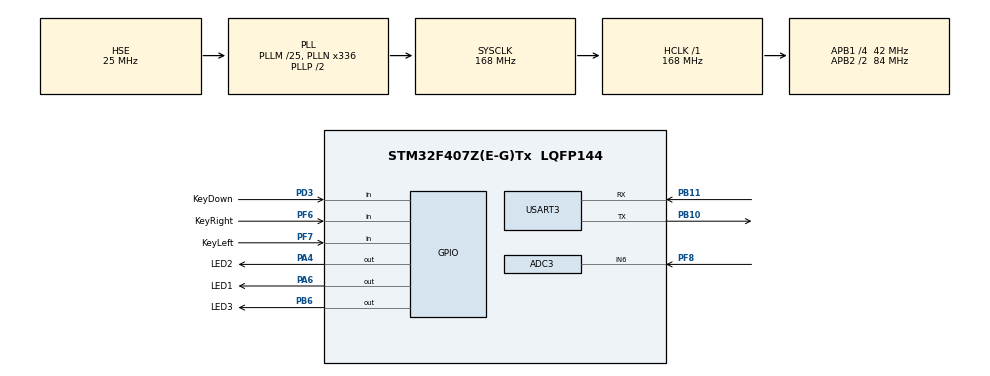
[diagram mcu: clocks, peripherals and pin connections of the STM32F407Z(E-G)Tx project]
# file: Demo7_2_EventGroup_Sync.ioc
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ADC3.Channel-0\#ChannelRegularConversion=ADC_CHANNEL_6
ADC3.NbrOfConversionFlag=1
ADC3.Rank-0\#ChannelRegularConversion=1
ADC3.SamplingTime-0\#ChannelRegularConversion=ADC_SAMPLETIME_15CYCLES
FREERTOS.Events01=eventGroup,Dynamic,NULL
FREERTOS.Tasks01=Task_LED1,24,128,AppTask_LED1,Default,NULL,Dynamic,NULL,NULL;Task_LED2,24,128,AppTask_LED2,Default,NULL,Dynamic,NULL,NULL;Task_LED3_ADC,24,256,AppTask_LED3_ADC,Default,NULL,Dynamic,NULL,NULL
FREERTOS.configUSE_NEWLIB_REENTRANT=1
Mcu.Family=STM32F4
Mcu.Name=STM32F407Z(E-G)Tx
Mcu.Package=LQFP144
NVIC.PriorityGroup=NVIC_PRIORITYGROUP_4
NVIC.TIM6_DAC_IRQn=true\:0\:0\:true\:false\:true\:false\:false\:true\:true
NVIC.TimeBase=TIM6_DAC_IRQn
NVIC.TimeBaseIP=TIM6
PA13.Mode=Serial_Wire
PA13.Signal=SYS_JTMS-SWDIO
PA14.Mode=Serial_Wire
PA14.Signal=SYS_JTCK-SWCLK
PA4.GPIO_Label=LED2
PA4.GPIO_Speed=GPIO_SPEED_FREQ_HIGH
PA4.PinState=GPIO_PIN_SET
PA4.Signal=GPIO_Output
PA6.GPIO_Label=LED1
PA6.GPIO_Speed=GPIO_SPEED_FREQ_HIGH
PA6.PinState=GPIO_PIN_SET
PA6.Signal=GPIO_Output
PB10.Mode=Asynchronous
PB10.Signal=USART3_TX
PB11.Mode=Asynchronous
PB11.Signal=USART3_RX
PB6.GPIO_Label=LED3
PB6.GPIO_Speed=GPIO_SPEED_FREQ_HIGH
PB6.PinState=GPIO_PIN_SET
PB6.Signal=GPIO_Output
PD3.GPIO_Label=KeyDown
PD3.GPIO_PuPd=GPIO_PULLUP
PD3.Signal=GPIO_Input
PF6.GPIO_Label=KeyRight
PF6.GPIO_PuPd=GPIO_PULLUP
PF6.Signal=GPIO_Input
PF7.GPIO_Label=KeyLeft
PF7.GPIO_PuPd=GPIO_PULLUP
PF7.Signal=GPIO_Input
PF8.Mode=IN6
PF8.Signal=ADC3_IN6
PH0-OSC_IN.Mode=HSE-External-Oscillator
PH0-OSC_IN.Signal=RCC_OSC_IN
PH1-OSC_OUT.Mode=HSE-External-Oscillator
PH1-OSC_OUT.Signal=RCC_OSC_OUT
ProjectManager.HeapSize=0x200
ProjectManager.StackSize=0x400
ProjectManager.TargetToolchain=STM32CubeIDE
RCC.48MHZClocksFreq_Value=84000000
RCC.AHBFreq_Value=168000000
RCC.APB1CLKDivider=RCC_HCLK_DIV4
RCC.APB1Freq_Value=42000000
RCC.APB1TimFreq_Value=84000000
RCC.APB2CLKDivider=RCC_HCLK_DIV2
RCC.APB2Freq_Value=84000000
RCC.APB2TimFreq_Value=168000000
RCC.CortexFreq_Value=168000000
RCC.HCLKFreq_Value=168000000
RCC.HSE_VALUE=25000000
RCC.HSI_VALUE=16000000
RCC.LSE_VALUE=32768
RCC.PLLM=25
RCC.PLLN=336
RCC.PLLSourceVirtual=RCC_PLLSOURCE_HSE
RCC.SYSCLKFreq_VALUE=168000000
RCC.SYSCLKSource=RCC_SYSCLKSOURCE_PLLCLK
RCC.VCOOutputFreq_Value=336000000
USART3.VirtualMode=VM_ASYNC
VP_FREERTOS_VS_CMSIS_V2.Mode=CMSIS_V2
VP_SYS_VS_tim6.Mode=TIM6
board=custom

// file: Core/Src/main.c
/* USER CODE BEGIN Header */
/**
  ******************************************************************************
  * @file           : main.c
  * @brief          : Main program body
  ******************************************************************************
  * @attention
  *
  * Copyright (c) 2025 STMicroelectronics.
  * All rights reserved.
  *
  * This software is licensed under terms that can be found in the LICENSE file
  * in the root directory of this software component.
  * If no LICENSE file comes with this software, it is provided AS-IS.
  *
  ******************************************************************************
  */
/* USER CODE END Header */
#include "main.h"
#include "cmsis_os.h"
#include "adc.h"
#include "usart.h"
#include "gpio.h"

void SystemClock_Config(void);
void MX_FREERTOS_Init(void);

int main(void)
{

  /* MCU Configuration--------------------------------------------------------*/

  /* Reset of all peripherals, Initializes the Flash interface and the Systick. */
  HAL_Init();

  /* Configure the system clock */
  SystemClock_Config();

  /* Initialize all configured peripherals */
  MX_GPIO_Init();
  MX_ADC3_Init();
  MX_USART3_UART_Init();
  /* USER CODE BEGIN 2 */
  // Start Menu
  uint8_t startstr[] = "Demo7_2: Events Synchronization.\r\n";
  HAL_UART_Transmit(&huart3,startstr,sizeof(startstr),0xFFFF);

  uint8_t startstr1[] = "1. Press KeyLeft(S4) ,KeyRight(S5) , KeyDown(S3) to start test.\r\n";
  HAL_UART_Transmit(&huart3,startstr1,sizeof(startstr1),0xFFFF);

  uint8_t startstr2[] = "2. Press Reset(S6) to restart.\r\n\r\n";
  HAL_UART_Transmit(&huart3,startstr2,sizeof(startstr2),0xFFFF);

  /* USER CODE END 2 */

  /* Init scheduler */
  osKernelInitialize();  /* Call init function for freertos objects (in cmsis_os2.c) */
  MX_FREERTOS_Init();

  /* Start scheduler */
  osKernelStart();

  /* We should never get here as control is now taken by the scheduler */

  /* Infinite loop */
  while (1)
  {

  }
}

void SystemClock_Config(void)
{
  RCC_OscInitTypeDef RCC_OscInitStruct = {0};
  RCC_ClkInitTypeDef RCC_ClkInitStruct = {0};

  /** Configure the main internal regulator output voltage
  */
  __HAL_RCC_PWR_CLK_ENABLE();
  __HAL_PWR_VOLTAGESCALING_CONFIG(PWR_REGULATOR_VOLTAGE_SCALE1);

  /** Initializes the RCC Oscillators according to the specified parameters
  * in the RCC_OscInitTypeDef structure.
  */
  RCC_OscInitStruct.OscillatorType = RCC_OSCILLATORTYPE_HSE;
  RCC_OscInitStruct.HSEState = RCC_HSE_ON;
  RCC_OscInitStruct.PLL.PLLState = RCC_PLL_ON;
  RCC_OscInitStruct.PLL.PLLSource = RCC_PLLSOURCE_HSE;
  RCC_OscInitStruct.PLL.PLLM = 25;
  RCC_OscInitStruct.PLL.PLLN = 336;
  RCC_OscInitStruct.PLL.PLLP = RCC_PLLP_DIV2;
  RCC_OscInitStruct.PLL.PLLQ = 4;
  if (HAL_RCC_OscConfig(&RCC_OscInitStruct) != HAL_OK)
  {
    Error_Handler();
  }

  /** Initializes the CPU, AHB and APB buses clocks
  */
  RCC_ClkInitStruct.ClockType = RCC_CLOCKTYPE_HCLK|RCC_CLOCKTYPE_SYSCLK
                              |RCC_CLOCKTYPE_PCLK1|RCC_CLOCKTYPE_PCLK2;
  RCC_ClkInitStruct.SYSCLKSource = RCC_SYSCLKSOURCE_PLLCLK;
  RCC_ClkInitStruct.AHBCLKDivider = RCC_SYSCLK_DIV1;
  RCC_ClkInitStruct.APB1CLKDivider = RCC_HCLK_DIV4;
  RCC_ClkInitStruct.APB2CLKDivider = RCC_HCLK_DIV2;

  if (HAL_RCC_ClockConfig(&RCC_ClkInitStruct, FLASH_LATENCY_5) != HAL_OK)
  {
    Error_Handler();
  }
}

void HAL_TIM_PeriodElapsedCallback(TIM_HandleTypeDef *htim)
{
  if (htim->Instance == TIM6)
  {
    HAL_IncTick();
  }
}

void Error_Handler(void)
{
  __disable_irq();
  while (1)
  {
  }
}

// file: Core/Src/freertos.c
/* USER CODE BEGIN Header */
/**
  ******************************************************************************
  * File Name          : freertos.c
  * Description        : Code for freertos applications
  ******************************************************************************
  * @attention
  *
  * Copyright (c) 2025 STMicroelectronics.
  * All rights reserved.
  *
  * This software is licensed under terms that can be found in the LICENSE file
  * in the root directory of this software component.
  * If no LICENSE file comes with this software, it is provided AS-IS.
  *
  ******************************************************************************
  */
/* USER CODE END Header */

#include "FreeRTOS.h"
#include "task.h"
#include "main.h"
#include "cmsis_os.h"

/* USER CODE BEGIN Includes */
#include <stdio.h>
#include "usart.h"
#include "adc.h"
#include "event_groups.h"
#include "keyled.h"
/* USER CODE END Includes */

/* USER CODE BEGIN PD */
// define BITMASK.
#define  BITMASK_KEY_LEFT			0x04
#define  BITMASK_KEY_DOWN		0x02
#define  BITMASK_KEY_RIGHT		0x01
#define  BITMASK_SYNC   			BITMASK_KEY_LEFT | BITMASK_KEY_DOWN | BITMASK_KEY_RIGHT
/* USER CODE END PD */

/* Definitions for Task_LED1 */
osThreadId_t Task_LED1Handle;
const osThreadAttr_t Task_LED1_attributes = {
  .name = "Task_LED1",
  .stack_size = 128 * 4,
  .priority = (osPriority_t) osPriorityNormal,
};
/* Definitions for Task_LED2 */
osThreadId_t Task_LED2Handle;
const osThreadAttr_t Task_LED2_attributes = {
  .name = "Task_LED2",
  .stack_size = 128 * 4,
  .priority = (osPriority_t) osPriorityNormal,
};
/* Definitions for Task_LED3_ADC */
osThreadId_t Task_LED3_ADCHandle;
const osThreadAttr_t Task_LED3_ADC_attributes = {
  .name = "Task_LED3_ADC",
  .stack_size = 256 * 4,
  .priority = (osPriority_t) osPriorityNormal,
};
/* Definitions for eventGroup */
osEventFlagsId_t eventGroupHandle;
const osEventFlagsAttr_t eventGroup_attributes = {
  .name = "eventGroup"
};

void AppTask_LED1(void *argument);
void AppTask_LED2(void *argument);
void AppTask_LED3_ADC(void *argument);

void MX_FREERTOS_Init(void); /* (MISRA C 2004 rule 8.1) */

void MX_FREERTOS_Init(void) {

  /* Create the thread(s) */
  /* creation of Task_LED1 */
  Task_LED1Handle = osThreadNew(AppTask_LED1, NULL, &Task_LED1_attributes);

  /* creation of Task_LED2 */
  Task_LED2Handle = osThreadNew(AppTask_LED2, NULL, &Task_LED2_attributes);

  /* creation of Task_LED3_ADC */
  Task_LED3_ADCHandle = osThreadNew(AppTask_LED3_ADC, NULL, &Task_LED3_ADC_attributes);

  /* Create the event(s) */
  /* creation of eventGroup */
  eventGroupHandle = osEventFlagsNew(&eventGroup_attributes);

}

void AppTask_LED1(void *argument)
{
  /* USER CODE BEGIN AppTask_LED1 */
  /* Infinite loop */
	for(;;)
	{
		KEYS curKey=ScanPressedKey(50);
		if (curKey != KEY_LEFT)
		{
			vTaskDelay(pdMS_TO_TICKS(80));
			continue;
		}

	  	printf("Task_LED1 reaches sync point, LED1 flashes.\r\n");
		xEventGroupSync(eventGroupHandle, BITMASK_KEY_LEFT,
				BITMASK_SYNC, portMAX_DELAY);
		while(1)
		{
			LED1_Toggle();
			vTaskDelay(pdMS_TO_TICKS(500));
		}
	}
  /* USER CODE END AppTask_LED1 */
}

void AppTask_LED2(void *argument)
{
  /* USER CODE BEGIN AppTask_LED2 */
  /* Infinite loop */
	for(;;)
	{
		KEYS curKey=ScanPressedKey(50);
		if (curKey != KEY_RIGHT)
		{
			vTaskDelay(pdMS_TO_TICKS(80));
			continue;
		}

	  	printf("Task_LED2 reaches sync point, LED2 flashes.\r\n");
		xEventGroupSync(eventGroupHandle, BITMASK_KEY_RIGHT,
				BITMASK_SYNC, portMAX_DELAY);
		while(1)
		{
			LED2_Toggle();
			vTaskDelay(pdMS_TO_TICKS(500));
		}
	}
  /* USER CODE END AppTask_LED2 */
}

void AppTask_LED3_ADC(void *argument)
{
  /* USER CODE BEGIN AppTask_LED3_ADC */
  /* Infinite loop */
	for(;;)
	{
		KEYS curKey=ScanPressedKey(50);
		if (curKey != KEY_DOWN)  //if KeyDown is not pressed.
		{
			vTaskDelay(pdMS_TO_TICKS(80));
			continue;
		}

	  	printf("Task_LED3_ADC reaches sync point, LED3 flashes.\r\n");
		xEventGroupSync(eventGroupHandle, BITMASK_KEY_DOWN,
				BITMASK_SYNC, portMAX_DELAY);  //Synchronize point, waiting for synchronization
		while(1)
		{
			LED3_Toggle();

			HAL_ADC_Start(&hadc3);
			uint32_t val = HAL_ADC_GetValue(&hadc3);
			printf("Data in ADC3_IN6 = %ld\r\n",val);

			uint32_t Volt = 3300*val;  		//mV
			Volt = Volt >> 12;  			//Divided by 2^12 and converted to engineering value
			printf("ADC3_IN6 Engineering Value = %ld\r\n",Volt );
			HAL_ADC_Stop(&hadc3);

			vTaskDelay(pdMS_TO_TICKS(500));
		}
	}
  /* USER CODE END AppTask_LED3_ADC */
}

/* USER CODE BEGIN Application */
int __io_putchar(int ch)
{
	HAL_UART_Transmit(&huart3,(uint8_t*)&ch,1,0xFFFF);
	return ch;
}
/* USER CODE END Application */
